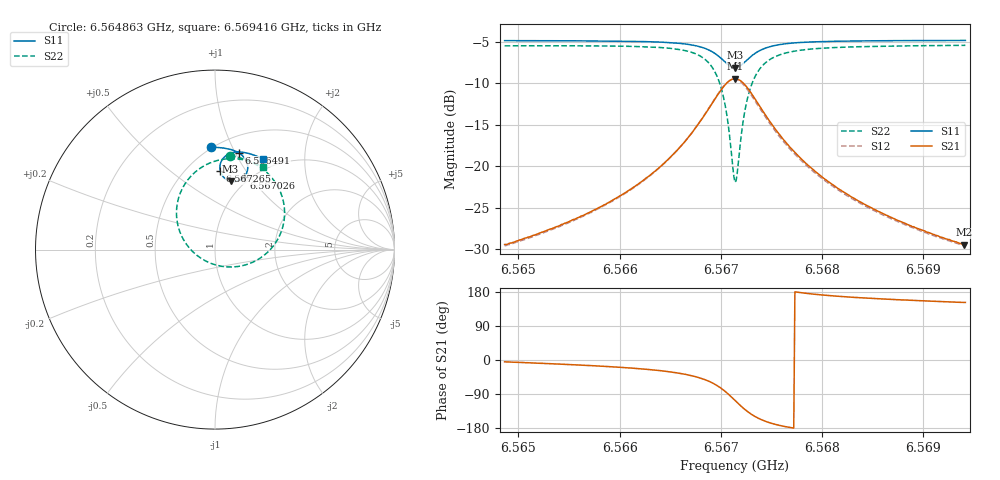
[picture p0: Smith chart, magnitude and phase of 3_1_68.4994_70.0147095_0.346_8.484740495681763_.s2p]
#  HZ  S  RI  R  50.00
! Rohde & Schwarz Vector Network Analyzer
! Rohde-Schwarz,ZNB20-2Port,1311601062101988,3.16
! Created: UTC 3/20/2024, 4:48:41 PM
! freq[Hz]  re:S11  im:S11  re:S21  im:S21  re:S12  im:S12  re:S22  im:S22
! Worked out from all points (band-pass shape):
!   401 points, 6.564863 GHz to 6.569416 GHz, reference 50 ohm
!   highest |S21| = -9.47 dB at 6.56714 GHz (marker M1); lowest = -29.5 dB at 6.569405 GHz (marker M2)
!   |S21| within 3 dB of the highest: 6.566912 GHz to 6.567368 GHz (455.4 kHz wide, 0.00693 % of centre)
!   lowest |S11| = -8.2 dB at 6.56714 GHz (marker M3), VSWR 2.28, Z = 43.3 + j38.9 ohm
!   |S11| at or under -10 dB: nowhere
!   |S22| runs from -21.9 to -5.4 dB; largest |S21 - S12| = 0.018
!   S11 on the Smith chart (normalised r, x): 6.564863 GHz: 0.49, +0.83; 6.566491 GHz: 0.67, +1.04; 6.567026 GHz: 0.94, +0.93; 6.567265 GHz: 0.71, +0.77; 6.569416 GHz: 0.85, +1.28
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6.5648633e9  -0.0218 0.5691  0.0336 -0.0029  0.0329 -0.00344  0.0839 0.5234
6.5656259e9  0.0432 0.5664  0.0488 -0.0119  0.048 -0.0123  0.1643 0.5038
6.5660584e9  0.0845 0.5586  0.0651 -0.0241  0.0641 -0.0248  0.224 0.4769
6.5663885e9  0.1211 0.5454  0.0865 -0.0456  0.0852 -0.0466  0.2856 0.4328
6.5664909e9  0.1341 0.5381  0.0956 -0.0576  0.0942 -0.0589  0.3094 0.409
6.5666958e9  0.1619 0.514  0.1169 -0.0996  0.115 -0.1019  0.3624 0.3264
6.5668552e9  0.1808 0.4752  0.1258 -0.1684  0.1224 -0.1723  0.3875 0.1938
6.5669576e9  0.1788 0.4338  0.1038 -0.241  0.0968 -0.2462  0.3482 0.0555
6.5670259e9  0.1597 0.4022  0.056 -0.2953  0.0441 -0.2993  0.2565 -0.0442
6.5670828e9  0.1281 0.3826  -0.0127 -0.3257  -0.0281 -0.3252  0.1278 -0.0942
6.567117e9  0.1038 0.379  -0.0624 -0.3283  -0.0787 -0.3236  0.0368 -0.0931
6.5671397e9  0.087 0.381  -0.0962 -0.3219  -0.112 -0.3142  -0.0231 -0.0765
6.5671625e9  0.0712 0.3866  -0.1278 -0.3088  -0.1424 -0.2985  -0.0776 -0.0485
6.5672194e9  0.0408 0.4125  -0.1887 -0.2551  -0.1972 -0.2403  -0.176 0.0562
6.5672649e9  0.0293 0.4388  -0.2132 -0.2033  -0.2169 -0.1884  -0.2099 0.1507
6.567356e9  0.032 0.4844  -0.2149 -0.1155  -0.2129 -0.104  -0.1977 0.3042
6.5674926e9  0.0596 0.5221  -0.1774 -0.0427  -0.1733 -0.0365  -0.117 0.4259
6.5676519e9  0.0917 0.5389  -0.1364 -0.00816  -0.1329 -0.00494  -0.0328 0.4807
6.5679023e9  0.1308 0.5444  -0.0959 0.0097  -0.0933 0.0113  0.0561 0.5045
6.5686649e9  0.2098 0.5292  -0.0467 0.0168  -0.0457 0.0172  0.1917 0.4922
6.5694047e9  0.2681 0.5042  -0.0296 0.0159  -0.0291 0.016  0.2663 0.4629
6.5694161e9  0.2688 0.5038  -0.0297 0.0158  -0.0288 0.016  0.2674 0.4621
